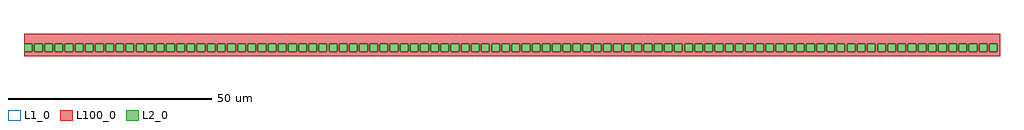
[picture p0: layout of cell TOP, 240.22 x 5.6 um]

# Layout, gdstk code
import gdstk
lib = gdstk.Library(unit=1e-6, precision=1e-09)
def R(c, l, rs):  # rectangles x0, y0, x1, y1
    for r in rs: c.add(gdstk.rectangle(r[:2], r[2:], *l))
def P(c, l, *ps):  # polygons
    for p in ps: c.add(gdstk.Polygon(p, *l))
L1_0 = (1, 0)
L2_0 = (2, 0)
L100_0 = (100, 0)

fill_cell = lib.new_cell('FILL_CELL')
R(fill_cell, L2_0, [(0,0,2,2)])

top = lib.new_cell('TOP')
R(top, L1_0, [(101.28,71.34,341.5,76.94)])
P(top, L100_0, [(101.28,71.34),(101.28,74.5),(101.35,74.5),(101.35,72.5),(103.35,72.5),(103.35,74.5),(103.85,74.5),(103.85,72.5),(105.85,72.5),(105.85,74.5),(106.35,74.5),(106.35,72.5),(108.35,72.5),(108.35,74.5),(108.85,74.5),(108.85,72.5),(110.85,72.5),(110.85,74.5),(111.35,74.5),(111.35,72.5),(113.35,72.5),(113.35,74.5),(113.85,74.5),(113.85,72.5),(115.85,72.5),(115.85,74.5),(116.35,74.5),(116.35,72.5),(118.35,72.5),(118.35,74.5),(118.85,74.5),(118.85,72.5),(120.85,72.5),(120.85,74.5),(121.35,74.5),(121.35,72.5),(123.35,72.5),(123.35,74.5),(123.85,74.5),(123.85,72.5),(125.85,72.5),(125.85,74.5),(126.35,74.5),(126.35,72.5),(128.35,72.5),(128.35,74.5),(128.85,74.5),(128.85,72.5),(130.85,72.5),(130.85,74.5),(131.35,74.5),(131.35,72.5),(133.35,72.5),(133.35,74.5),(133.85,74.5),(133.85,72.5),(135.85,72.5),(135.85,74.5),(136.35,74.5),(136.35,72.5),(138.35,72.5),(138.35,74.5),(138.85,74.5),(138.85,72.5),(140.85,72.5),(140.85,74.5),(141.35,74.5),(141.35,72.5),(143.35,72.5),(143.35,74.5),(143.85,74.5),(143.85,72.5),(145.85,72.5),(145.85,74.5),(146.35,74.5),(146.35,72.5),(148.35,72.5),(148.35,74.5),(148.85,74.5),(148.85,72.5),(150.85,72.5),(150.85,74.5),(151.35,74.5),(151.35,72.5),(153.35,72.5),(153.35,74.5),(153.85,74.5),(153.85,72.5),(155.85,72.5),(155.85,74.5),(156.35,74.5),(156.35,72.5),(158.35,72.5),(158.35,74.5),(158.85,74.5),(158.85,72.5),(160.85,72.5),(160.85,74.5),(161.35,74.5),(161.35,72.5),(163.35,72.5),(163.35,74.5),(163.85,74.5),(163.85,72.5),(165.85,72.5),(165.85,74.5),(166.35,74.5),(166.35,72.5),(168.35,72.5),(168.35,74.5),(168.85,74.5),(168.85,72.5),(170.85,72.5),(170.85,74.5),(171.35,74.5),(171.35,72.5),(173.35,72.5),(173.35,74.5),(173.85,74.5),(173.85,72.5),(175.85,72.5),(175.85,74.5),(176.35,74.5),(176.35,72.5),(178.35,72.5),(178.35,74.5),(178.85,74.5),(178.85,72.5),(180.85,72.5),(180.85,74.5),(181.35,74.5),(181.35,72.5),(183.35,72.5),(183.35,74.5),(183.85,74.5),(183.85,72.5),(185.85,72.5),(185.85,74.5),(186.35,74.5),(186.35,72.5),(188.35,72.5),(188.35,74.5),(188.85,74.5),(188.85,72.5),(190.85,72.5),(190.85,74.5),(191.35,74.5),(191.35,72.5),(193.35,72.5),(193.35,74.5),(193.85,74.5),(193.85,72.5),(195.85,72.5),(195.85,74.5),(196.35,74.5),(196.35,72.5),(198.35,72.5),(198.35,74.5),(198.85,74.5),(198.85,72.5),(200.85,72.5),(200.85,74.5),(201.35,74.5),(201.35,72.5),(203.35,72.5),(203.35,74.5),(203.85,74.5),(203.85,72.5),(205.85,72.5),(205.85,74.5),(206.35,74.5),(206.35,72.5),(208.35,72.5),(208.35,74.5),(208.85,74.5),(208.85,72.5),(210.85,72.5),(210.85,74.5),(211.35,74.5),(211.35,72.5),(213.35,72.5),(213.35,74.5),(213.85,74.5),(213.85,72.5),(215.85,72.5),(215.85,74.5),(216.35,74.5),(216.35,72.5),(218.35,72.5),(218.35,74.5),(218.85,74.5),(218.85,72.5),(220.85,72.5),(220.85,74.5),(221.35,74.5),(221.35,72.5),(223.35,72.5),(223.35,74.5),(223.85,74.5),(223.85,72.5),(225.85,72.5),(225.85,74.5),(226.35,74.5),(226.35,72.5),(228.35,72.5),(228.35,74.5),(228.85,74.5),(228.85,72.5),(230.85,72.5),(230.85,74.5),(231.35,74.5),(231.35,72.5),(233.35,72.5),(233.35,74.5),(233.85,74.5),(233.85,72.5),(235.85,72.5),(235.85,74.5),(236.35,74.5),(236.35,72.5),(238.35,72.5),(238.35,74.5),(238.85,74.5),(238.85,72.5),(240.85,72.5),(240.85,74.5),(241.35,74.5),(241.35,72.5),(243.35,72.5),(243.35,74.5),(243.85,74.5),(243.85,72.5),(245.85,72.5),(245.85,74.5),(246.35,74.5),(246.35,72.5),(248.35,72.5),(248.35,74.5),(248.85,74.5),(248.85,72.5),(250.85,72.5),(250.85,74.5),(251.35,74.5),(251.35,72.5),(253.35,72.5),(253.35,74.5),(253.85,74.5),(253.85,72.5),(255.85,72.5),(255.85,74.5),(256.35,74.5),(256.35,72.5),(258.35,72.5),(258.35,74.5),(258.85,74.5),(258.85,72.5),(260.85,72.5),(260.85,74.5),(261.35,74.5),(261.35,72.5),(263.35,72.5),(263.35,74.5),(263.85,74.5),(263.85,72.5),(265.85,72.5),(265.85,74.5),(266.35,74.5),(266.35,72.5),(268.35,72.5),(268.35,74.5),(268.85,74.5),(268.85,72.5),(270.85,72.5),(270.85,74.5),(271.35,74.5),(271.35,72.5),(273.35,72.5),(273.35,74.5),(273.85,74.5),(273.85,72.5),(275.85,72.5),(275.85,74.5),(276.35,74.5),(276.35,72.5),(278.35,72.5),(278.35,74.5),(278.85,74.5),(278.85,72.5),(280.85,72.5),(280.85,74.5),(281.35,74.5),(281.35,72.5),(283.35,72.5),(283.35,74.5),(283.85,74.5),(283.85,72.5),(285.85,72.5),(285.85,74.5),(286.35,74.5),(286.35,72.5),(288.35,72.5),(288.35,74.5),(288.85,74.5),(288.85,72.5),(290.85,72.5),(290.85,74.5),(291.35,74.5),(291.35,72.5),(293.35,72.5),(293.35,74.5),(293.85,74.5),(293.85,72.5),(295.85,72.5),(295.85,74.5),(296.35,74.5),(296.35,72.5),(298.35,72.5),(298.35,74.5),(298.85,74.5),(298.85,72.5),(300.85,72.5),(300.85,74.5),(301.35,74.5),(301.35,72.5),(303.35,72.5),(303.35,74.5),(303.85,74.5),(303.85,72.5),(305.85,72.5),(305.85,74.5),(306.35,74.5),(306.35,72.5),(308.35,72.5),(308.35,74.5),(308.85,74.5),(308.85,72.5),(310.85,72.5),(310.85,74.5),(311.35,74.5),(311.35,72.5),(313.35,72.5),(313.35,74.5),(313.85,74.5),(313.85,72.5),(315.85,72.5),(315.85,74.5),(316.35,74.5),(316.35,72.5),(318.35,72.5),(318.35,74.5),(318.85,74.5),(318.85,72.5),(320.85,72.5),(320.85,74.5),(321.35,74.5),(321.35,72.5),(323.35,72.5),(323.35,74.5),(323.85,74.5),(323.85,72.5),(325.85,72.5),(325.85,74.5),(326.35,74.5),(326.35,72.5),(328.35,72.5),(328.35,74.5),(328.85,74.5),(328.85,72.5),(330.85,72.5),(330.85,74.5),(331.35,74.5),(331.35,72.5),(333.35,72.5),(333.35,74.5),(333.85,74.5),(333.85,72.5),(335.85,72.5),(335.85,74.5),(336.35,74.5),(336.35,72.5),(338.35,72.5),(338.35,74.5),(338.85,74.5),(338.85,72.5),(340.85,72.5),(340.85,74.5),(101.28,74.5),(101.28,76.94),(341.5,76.94),(341.5,71.34)])
top.add(gdstk.Reference(fill_cell, (101.35,72.5)))
top.add(gdstk.Reference(fill_cell, (103.85,72.5)))
top.add(gdstk.Reference(fill_cell, (106.35,72.5)))
top.add(gdstk.Reference(fill_cell, (108.85,72.5)))
top.add(gdstk.Reference(fill_cell, (111.35,72.5)))
top.add(gdstk.Reference(fill_cell, (113.85,72.5)))
top.add(gdstk.Reference(fill_cell, (116.35,72.5)))
top.add(gdstk.Reference(fill_cell, (118.85,72.5)))
top.add(gdstk.Reference(fill_cell, (121.35,72.5)))
top.add(gdstk.Reference(fill_cell, (123.85,72.5)))
top.add(gdstk.Reference(fill_cell, (126.35,72.5)))
top.add(gdstk.Reference(fill_cell, (128.85,72.5)))
top.add(gdstk.Reference(fill_cell, (131.35,72.5)))
top.add(gdstk.Reference(fill_cell, (133.85,72.5)))
top.add(gdstk.Reference(fill_cell, (136.35,72.5)))
top.add(gdstk.Reference(fill_cell, (138.85,72.5)))
top.add(gdstk.Reference(fill_cell, (141.35,72.5)))
top.add(gdstk.Reference(fill_cell, (143.85,72.5)))
top.add(gdstk.Reference(fill_cell, (146.35,72.5)))
top.add(gdstk.Reference(fill_cell, (148.85,72.5)))
top.add(gdstk.Reference(fill_cell, (151.35,72.5)))
top.add(gdstk.Reference(fill_cell, (153.85,72.5)))
top.add(gdstk.Reference(fill_cell, (156.35,72.5)))
top.add(gdstk.Reference(fill_cell, (158.85,72.5)))
top.add(gdstk.Reference(fill_cell, (161.35,72.5)))
top.add(gdstk.Reference(fill_cell, (163.85,72.5)))
top.add(gdstk.Reference(fill_cell, (166.35,72.5)))
top.add(gdstk.Reference(fill_cell, (168.85,72.5)))
top.add(gdstk.Reference(fill_cell, (171.35,72.5)))
top.add(gdstk.Reference(fill_cell, (173.85,72.5)))
top.add(gdstk.Reference(fill_cell, (176.35,72.5)))
top.add(gdstk.Reference(fill_cell, (178.85,72.5)))
top.add(gdstk.Reference(fill_cell, (181.35,72.5)))
top.add(gdstk.Reference(fill_cell, (183.85,72.5)))
top.add(gdstk.Reference(fill_cell, (186.35,72.5)))
top.add(gdstk.Reference(fill_cell, (188.85,72.5)))
top.add(gdstk.Reference(fill_cell, (191.35,72.5)))
top.add(gdstk.Reference(fill_cell, (193.85,72.5)))
top.add(gdstk.Reference(fill_cell, (196.35,72.5)))
top.add(gdstk.Reference(fill_cell, (198.85,72.5)))
top.add(gdstk.Reference(fill_cell, (201.35,72.5)))
top.add(gdstk.Reference(fill_cell, (203.85,72.5)))
top.add(gdstk.Reference(fill_cell, (206.35,72.5)))
top.add(gdstk.Reference(fill_cell, (208.85,72.5)))
top.add(gdstk.Reference(fill_cell, (211.35,72.5)))
top.add(gdstk.Reference(fill_cell, (213.85,72.5)))
top.add(gdstk.Reference(fill_cell, (216.35,72.5)))
top.add(gdstk.Reference(fill_cell, (218.85,72.5)))
top.add(gdstk.Reference(fill_cell, (221.35,72.5)))
top.add(gdstk.Reference(fill_cell, (223.85,72.5)))
top.add(gdstk.Reference(fill_cell, (226.35,72.5)))
top.add(gdstk.Reference(fill_cell, (228.85,72.5)))
top.add(gdstk.Reference(fill_cell, (231.35,72.5)))
top.add(gdstk.Reference(fill_cell, (233.85,72.5)))
top.add(gdstk.Reference(fill_cell, (236.35,72.5)))
top.add(gdstk.Reference(fill_cell, (238.85,72.5)))
top.add(gdstk.Reference(fill_cell, (241.35,72.5)))
top.add(gdstk.Reference(fill_cell, (243.85,72.5)))
top.add(gdstk.Reference(fill_cell, (246.35,72.5)))
top.add(gdstk.Reference(fill_cell, (248.85,72.5)))
top.add(gdstk.Reference(fill_cell, (251.35,72.5)))
top.add(gdstk.Reference(fill_cell, (253.85,72.5)))
top.add(gdstk.Reference(fill_cell, (256.35,72.5)))
top.add(gdstk.Reference(fill_cell, (258.85,72.5)))
top.add(gdstk.Reference(fill_cell, (261.35,72.5)))
top.add(gdstk.Reference(fill_cell, (263.85,72.5)))
top.add(gdstk.Reference(fill_cell, (266.35,72.5)))
top.add(gdstk.Reference(fill_cell, (268.85,72.5)))
top.add(gdstk.Reference(fill_cell, (271.35,72.5)))
top.add(gdstk.Reference(fill_cell, (273.85,72.5)))
top.add(gdstk.Reference(fill_cell, (276.35,72.5)))
top.add(gdstk.Reference(fill_cell, (278.85,72.5)))
top.add(gdstk.Reference(fill_cell, (281.35,72.5)))
top.add(gdstk.Reference(fill_cell, (283.85,72.5)))
top.add(gdstk.Reference(fill_cell, (286.35,72.5)))
top.add(gdstk.Reference(fill_cell, (288.85,72.5)))
top.add(gdstk.Reference(fill_cell, (291.35,72.5)))
top.add(gdstk.Reference(fill_cell, (293.85,72.5)))
top.add(gdstk.Reference(fill_cell, (296.35,72.5)))
top.add(gdstk.Reference(fill_cell, (298.85,72.5)))
top.add(gdstk.Reference(fill_cell, (301.35,72.5)))
top.add(gdstk.Reference(fill_cell, (303.85,72.5)))
top.add(gdstk.Reference(fill_cell, (306.35,72.5)))
top.add(gdstk.Reference(fill_cell, (308.85,72.5)))
top.add(gdstk.Reference(fill_cell, (311.35,72.5)))
top.add(gdstk.Reference(fill_cell, (313.85,72.5)))
top.add(gdstk.Reference(fill_cell, (316.35,72.5)))
top.add(gdstk.Reference(fill_cell, (318.85,72.5)))
top.add(gdstk.Reference(fill_cell, (321.35,72.5)))
top.add(gdstk.Reference(fill_cell, (323.85,72.5)))
top.add(gdstk.Reference(fill_cell, (326.35,72.5)))
top.add(gdstk.Reference(fill_cell, (328.85,72.5)))
top.add(gdstk.Reference(fill_cell, (331.35,72.5)))
top.add(gdstk.Reference(fill_cell, (333.85,72.5)))
top.add(gdstk.Reference(fill_cell, (336.35,72.5)))
top.add(gdstk.Reference(fill_cell, (338.85,72.5)))

lib.write_gds('TOP.gds')
